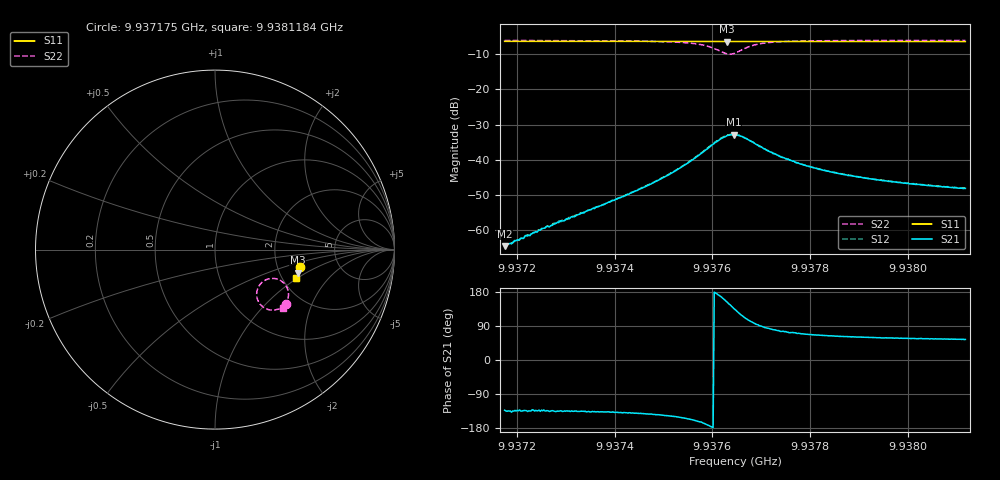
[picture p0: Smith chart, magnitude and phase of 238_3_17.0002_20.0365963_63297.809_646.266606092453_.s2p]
#  HZ  S  RI  R  50.00
! Rohde & Schwarz Vector Network Analyzer
! Rohde-Schwarz,ZNB20-2Port,1311601062101988,3.16
! Created: UTC 3/20/2024, 11:02:46 PM
! freq[Hz]  re:S11  im:S11  re:S21  im:S21  re:S12  im:S12  re:S22  im:S22
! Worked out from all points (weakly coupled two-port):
!   401 points, 9.937175 GHz to 9.9381184 GHz, reference 50 ohm
!   highest |S21| = -32.88 dB at 9.9376443 GHz (marker M1); lowest = -64.6 dB at 9.937175 GHz (marker M2)
!   lowest |S11| = -6.4 dB at 9.9376302 GHz (marker M3), VSWR 2.84, Z = 126 - j41.9 ohm
!   |S11| at or under -10 dB: nowhere
!   |S22| runs from -10.0 to -6.1 dB; largest |S21 - S12| = 0.001
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9.937175e9  0.474 -0.0986  -0.000398 -0.000435  -0.000421 -0.000433  0.3957 -0.302
9.93718915e9  0.4735 -0.0996  -0.000466 -0.000427  -0.000443 -0.000481  0.3947 -0.3033
9.93721509e9  0.4731 -0.1014  -0.000527 -0.000564  -0.000583 -0.000533  0.3925 -0.3052
9.93723396e9  0.4727 -0.1027  -0.000617 -0.000681  -0.000628 -0.000658  0.3911 -0.3067
9.93725754e9  0.4723 -0.1043  -0.000744 -0.000758  -0.000732 -0.00078  0.3889 -0.3086
9.93733301e9  0.4707 -0.1093  -0.00122 -0.00122  -0.00128 -0.0012  0.3811 -0.3153
9.93741555e9  0.4691 -0.1149  -0.00226 -0.00193  -0.00229 -0.00192  0.3685 -0.3241
9.93749102e9  0.4672 -0.1201  -0.00419 -0.00298  -0.00432 -0.00297  0.3477 -0.3333
9.93753819e9  0.466 -0.1233  -0.00699 -0.00369  -0.00718 -0.00363  0.3222 -0.3373
9.937583e9  0.4641 -0.1262  -0.0128 -0.00293  -0.0132 -0.00258  0.275 -0.3247
9.93760658e9  0.4632 -0.1276  -0.0177 0.000838  -0.0179 0.00131  0.2416 -0.2889
9.93763017e9  0.462 -0.128  -0.0197 0.00979  -0.0196 0.0105  0.2388 -0.2148
9.93764432e9  0.4621 -0.128  -0.0162 0.0158  -0.016 0.0165  0.2735 -0.174
9.93764668e9  0.462 -0.1282  -0.0154 0.0164  -0.0151 0.0171  0.2812 -0.1696
9.93765847e9  0.4623 -0.1288  -0.0107 0.0186  -0.0102 0.0192  0.3217 -0.1602
9.93767262e9  0.4625 -0.1294  -0.00541 0.0186  -0.00499 0.0189  0.3615 -0.1702
9.93770092e9  0.4628 -0.1316  0.000187 0.0152  0.000723 0.015  0.3996 -0.2084
9.93774337e9  0.4622 -0.1347  0.00268 0.0104  0.00295 0.0104  0.4096 -0.2493
9.93780469e9  0.4608 -0.1391  0.00308 0.00712  0.00321 0.00714  0.4048 -0.2789
9.93787308e9  0.4592 -0.1438  0.00287 0.00537  0.00298 0.00535  0.3977 -0.2958
9.9379627e9  0.457 -0.1497  0.00257 0.00415  0.0027 0.00415  0.3892 -0.3091
9.93811836e9  0.453 -0.1598  0.00227 0.00317  0.00233 0.00318  0.3777 -0.3238
